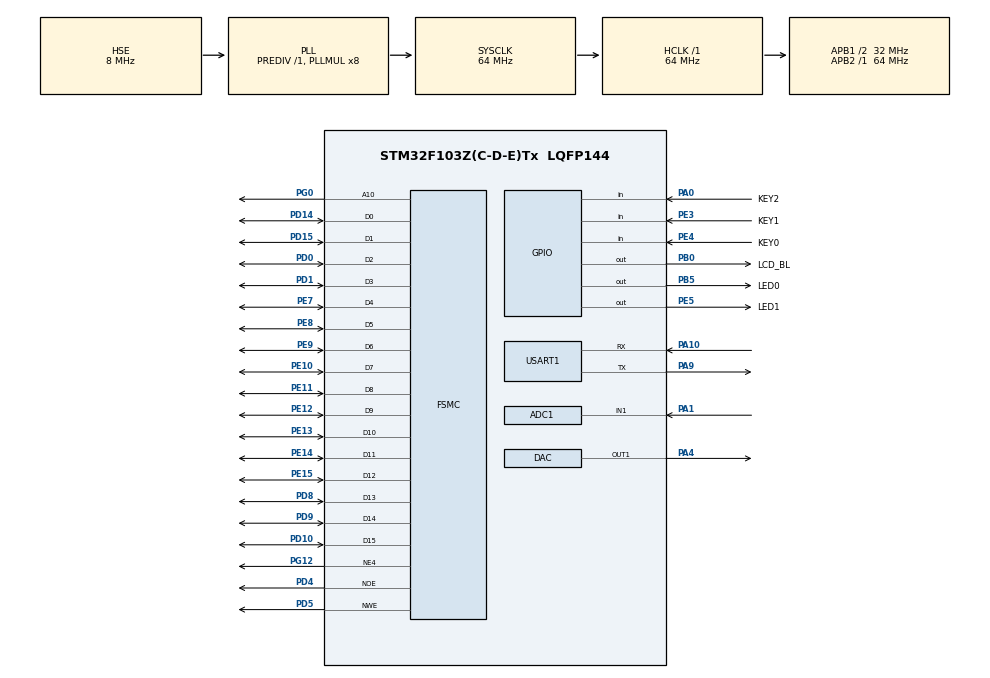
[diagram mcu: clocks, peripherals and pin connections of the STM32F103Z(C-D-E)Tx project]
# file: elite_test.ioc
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ADC1.Channel-0\#ChannelRegularConversion=ADC_CHANNEL_1
ADC1.EnableInjectedConversion=DISABLE
ADC1.ExternalTrigConv=ADC_EXTERNALTRIGCONV_T3_TRGO
ADC1.NbrOfConversionFlag=1
ADC1.Rank-0\#ChannelRegularConversion=1
ADC1.SamplingTime-0\#ChannelRegularConversion=ADC_SAMPLETIME_1CYCLE_5
ADC1.master=1
Dma.ADC1.1.Direction=DMA_PERIPH_TO_MEMORY
Dma.ADC1.1.Instance=DMA1_Channel1
Dma.ADC1.1.MemDataAlignment=DMA_MDATAALIGN_WORD
Dma.ADC1.1.MemInc=DMA_MINC_ENABLE
Dma.ADC1.1.Mode=DMA_NORMAL
Dma.ADC1.1.PeriphDataAlignment=DMA_PDATAALIGN_HALFWORD
Dma.ADC1.1.PeriphInc=DMA_PINC_DISABLE
Dma.ADC1.1.Priority=DMA_PRIORITY_VERY_HIGH
Dma.DAC_CH1.2.Direction=DMA_MEMORY_TO_PERIPH
Dma.DAC_CH1.2.Instance=DMA2_Channel3
Dma.DAC_CH1.2.MemDataAlignment=DMA_MDATAALIGN_HALFWORD
Dma.DAC_CH1.2.MemInc=DMA_MINC_ENABLE
Dma.DAC_CH1.2.Mode=DMA_CIRCULAR
Dma.DAC_CH1.2.PeriphDataAlignment=DMA_PDATAALIGN_HALFWORD
Dma.DAC_CH1.2.PeriphInc=DMA_PINC_DISABLE
Dma.DAC_CH1.2.Priority=DMA_PRIORITY_LOW
Dma.Request0=USART1_RX
Dma.Request1=ADC1
Dma.Request2=DAC_CH1
Dma.USART1_RX.0.Direction=DMA_PERIPH_TO_MEMORY
Dma.USART1_RX.0.Instance=DMA1_Channel5
Dma.USART1_RX.0.MemDataAlignment=DMA_MDATAALIGN_BYTE
Dma.USART1_RX.0.MemInc=DMA_MINC_ENABLE
Dma.USART1_RX.0.Mode=DMA_CIRCULAR
Dma.USART1_RX.0.PeriphDataAlignment=DMA_PDATAALIGN_BYTE
Dma.USART1_RX.0.PeriphInc=DMA_PINC_DISABLE
Dma.USART1_RX.0.Priority=DMA_PRIORITY_LOW
FSMC.AddressSetupTime1=0x06
FSMC.BusTurnAroundDuration1=0
FSMC.DataSetupTime1=26
FSMC.ExtendedAddressSetupTime1=3
FSMC.ExtendedBusTurnAroundDuration1=0
FSMC.ExtendedDataSetupTime1=0x06
FSMC.ExtendedMode1=FSMC_EXTENDED_MODE_ENABLE
Mcu.Family=STM32F1
Mcu.Name=STM32F103Z(C-D-E)Tx
Mcu.Package=LQFP144
NVIC.DMA1_Channel1_IRQn=true\:0\:0\:false\:false\:true\:false\:true\:true
NVIC.DMA1_Channel5_IRQn=true\:0\:0\:false\:false\:true\:false\:true\:true
NVIC.DMA2_Channel3_IRQn=true\:0\:0\:false\:false\:true\:false\:true\:true
NVIC.PriorityGroup=NVIC_PRIORITYGROUP_4
NVIC.TIM6_IRQn=true\:0\:0\:false\:false\:true\:true\:true\:true
NVIC.USART1_IRQn=true\:0\:0\:false\:false\:true\:true\:true\:true
OSC_IN.Mode=HSE-External-Oscillator
OSC_IN.Signal=RCC_OSC_IN
OSC_OUT.Mode=HSE-External-Oscillator
OSC_OUT.Signal=RCC_OSC_OUT
PA0-WKUP.GPIO_Label=KEY2
PA0-WKUP.GPIO_PuPd=GPIO_PULLDOWN
PA0-WKUP.Signal=GPIO_Input
PA1.Signal=ADCx_IN1
PA10.Mode=Asynchronous
PA10.Signal=USART1_RX
PA4.Signal=COMP_DAC1_group
PA9.Mode=Asynchronous
PA9.Signal=USART1_TX
PB0.GPIO_Label=LCD_BL
PB0.GPIO_PuPd=GPIO_PULLUP
PB0.GPIO_Speed=GPIO_SPEED_FREQ_HIGH
PB0.Signal=GPIO_Output
PB5.GPIO_Label=LED0
PB5.GPIO_PuPd=GPIO_PULLUP
PB5.GPIO_Speed=GPIO_SPEED_FREQ_HIGH
PB5.PinState=GPIO_PIN_SET
PB5.Signal=GPIO_Output
PC14-OSC32_IN.Mode=LSE-External-Clock-Source
PC14-OSC32_IN.Signal=RCC_OSC32_IN
PC15-OSC32_OUT.Mode=LSE-External-Clock-Source
PC15-OSC32_OUT.Signal=RCC_OSC32_OUT
PD0.Signal=FSMC_D2_DA2
PD1.Signal=FSMC_D3_DA3
PD10.Signal=FSMC_D15_DA15
PD14.Signal=FSMC_D0_DA0
PD15.Signal=FSMC_D1_DA1
PD4.Signal=FSMC_NOE
PD5.Signal=FSMC_NWE
PD8.Signal=FSMC_D13_DA13
PD9.Signal=FSMC_D14_DA14
PE10.Signal=FSMC_D7_DA7
PE11.Signal=FSMC_D8_DA8
PE12.Signal=FSMC_D9_DA9
PE13.Signal=FSMC_D10_DA10
PE14.Signal=FSMC_D11_DA11
PE15.Signal=FSMC_D12_DA12
PE3.GPIO_Label=KEY1
PE3.GPIO_PuPd=GPIO_PULLUP
PE3.Signal=GPIO_Input
PE4.GPIO_Label=KEY0
PE4.GPIO_PuPd=GPIO_PULLUP
PE4.Signal=GPIO_Input
PE5.GPIO_Label=LED1
PE5.GPIO_PuPd=GPIO_PULLUP
PE5.GPIO_Speed=GPIO_SPEED_FREQ_HIGH
PE5.PinState=GPIO_PIN_SET
PE5.Signal=GPIO_Output
PE7.Signal=FSMC_D4_DA4
PE8.Signal=FSMC_D5_DA5
PE9.Signal=FSMC_D6_DA6
PG0.Signal=FSMC_A10
PG12.Mode=NorPsramChipSelect4_1
PG12.Signal=FSMC_NE4
ProjectManager.HeapSize=0x200
ProjectManager.StackSize=0x400
ProjectManager.TargetToolchain=MDK-ARM V5
RCC.ADCPresc=RCC_ADCPCLK2_DIV8
RCC.AHBFreq_Value=64000000
RCC.APB1CLKDivider=RCC_HCLK_DIV2
RCC.APB1Freq_Value=32000000
RCC.APB1TimFreq_Value=64000000
RCC.APB2Freq_Value=64000000
RCC.APB2TimFreq_Value=64000000
RCC.HCLKFreq_Value=64000000
RCC.PLLMUL=RCC_PLL_MUL8
RCC.PLLSourceVirtual=RCC_PLLSOURCE_HSE
RCC.SYSCLKFreq_VALUE=64000000
RCC.SYSCLKSource=RCC_SYSCLKSOURCE_PLLCLK
RCC.USBFreq_Value=64000000
SH.ADCx_IN1.0=ADC1_IN1,IN1
SH.COMP_DAC1_group.0=DAC_OUT1,DAC_OUT1
SH.FSMC_A10.0=FSMC_A10,A10_1
SH.FSMC_D0_DA0.0=FSMC_D0,16b-d1
SH.FSMC_D10_DA10.0=FSMC_D10,16b-d1
SH.FSMC_D11_DA11.0=FSMC_D11,16b-d1
SH.FSMC_D12_DA12.0=FSMC_D12,16b-d1
SH.FSMC_D13_DA13.0=FSMC_D13,16b-d1
SH.FSMC_D14_DA14.0=FSMC_D14,16b-d1
SH.FSMC_D15_DA15.0=FSMC_D15,16b-d1
SH.FSMC_D1_DA1.0=FSMC_D1,16b-d1
SH.FSMC_D2_DA2.0=FSMC_D2,16b-d1
SH.FSMC_D3_DA3.0=FSMC_D3,16b-d1
SH.FSMC_D4_DA4.0=FSMC_D4,16b-d1
SH.FSMC_D5_DA5.0=FSMC_D5,16b-d1
SH.FSMC_D6_DA6.0=FSMC_D6,16b-d1
SH.FSMC_D7_DA7.0=FSMC_D7,16b-d1
SH.FSMC_D8_DA8.0=FSMC_D8,16b-d1
SH.FSMC_D9_DA9.0=FSMC_D9,16b-d1
SH.FSMC_NOE.0=FSMC_NOE,Lcd1
SH.FSMC_NWE.0=FSMC_NWE,Lcd1
TIM3.AutoReloadPreload=TIM_AUTORELOAD_PRELOAD_ENABLE
TIM3.Period=10-1
TIM3.Prescaler=25-1
TIM3.TIM_MasterOutputTrigger=TIM_TRGO_UPDATE
TIM6.AutoReloadPreload=TIM_AUTORELOAD_PRELOAD_ENABLE
TIM6.Period=1000-1
TIM6.Prescaler=64-1
TIM7.Period=65535
TIM7.Prescaler=64-1
USART1.VirtualMode=VM_ASYNC
VP_SYS_VS_ND.Mode=No_Debug
VP_TIM3_VS_ClockSourceINT.Mode=Internal
VP_TIM6_VS_ClockSourceINT.Mode=Enable_Timer
VP_TIM7_VS_ClockSourceINT.Mode=Enable_Timer
board=custom

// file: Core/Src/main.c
/* USER CODE BEGIN Header */
/**
  ******************************************************************************
  * @file           : main.c
  * @brief          : Main program body
  ******************************************************************************
  * @attention
  *
  * Copyright (c) 2023 STMicroelectronics.
  * All rights reserved.
  *
  * This software is licensed under terms that can be found in the LICENSE file
  * in the root directory of this software component.
  * If no LICENSE file comes with this software, it is provided AS-IS.
  *
  ******************************************************************************
  */
/* USER CODE END Header */
#include "main.h"
#include "adc.h"
#include "dac.h"
#include "dma.h"
#include "tim.h"
#include "usart.h"
#include "gpio.h"
#include "fsmc.h"

/* USER CODE BEGIN Includes */
#include "ui.h"
/* USER CODE END Includes */

/* USER CODE BEGIN PD */
#define DDS_VOL 815				// 设置正弦波的幅度（0~4095）        816为100mV输出
#define DDS_FRE 1000000		// 设置正弦波的频率（1~100MHz）
/* USER CODE END PD */

/* USER CODE BEGIN PV */
key_t Key0, Key1, Key2;
extern int dacval;
/* USER CODE END PV */

void SystemClock_Config(void);

int main(void)
{

  /* MCU Configuration--------------------------------------------------------*/

  /* Reset of all peripherals, Initializes the Flash interface and the Systick. */
  HAL_Init();

  /* Configure the system clock */
  SystemClock_Config();

  /* Initialize all configured peripherals */
  MX_GPIO_Init();
  MX_DMA_Init();
  MX_TIM6_Init();
  MX_TIM7_Init();
  MX_USART1_UART_Init();
  MX_FSMC_Init();
  MX_ADC1_Init();
  MX_TIM3_Init();
  MX_DAC_Init();
  /* USER CODE BEGIN 2 */

	Key0.keyFlag = 0;
	Key1.keyFlag = 0;
	Key2.keyFlag = 0;
	Key0.keyState = KEY_COMFIRM;
	Key1.keyState = KEY_CHECK;
	Key2.keyState = KEY_CHECK;

	HAL_TIM_Base_Start(&htim3);
	HAL_TIM_Base_Start_IT(&htim6);

	HAL_ADCEx_Calibration_Start(&hadc1);
	HAL_ADC_Start(&hadc1);
	HAL_DAC_Start(&hdac,DAC_CHANNEL_1);  			//开启DAC通道1
	HAL_DAC_SetValue(&hdac,DAC_CHANNEL_1,DAC_ALIGN_12B_R,dacval);//初始值为0

	GPIO_AD9854_Configuration(); // AD9854IO口初始化
	delay_ms(5);
	AD9854_Init ();
	delay_ms(5);

	lv_init();
	lv_port_disp_init();
	lv_port_indev_init();

	AD9851_Init();
	delay_ms(5);

	AD9850_Init();
	delay_ms(5);
`
	ui_init();
	lv_chart_set_update_mode(ui_Wave_Show, LV_CHART_UPDATE_MODE_CIRCULAR);
	lv_spinbox_set_value(ui_Fre_Value, DDS_FRE/100000);
	lv_label_set_text(ui_DDS_Vol, "Vol:815");  //100mv:815  200mv:1695 300mv:2565  400mv:3465
	lv_slider_set_value(ui_DDS_Vol_Slider, DDS_VOL, LV_ANIM_OFF);
	lv_label_set_text(ui_DAC_Value_tag, "DAC_Vol:300");
	lv_slider_set_value(ui_DAC_Value_Set, 300, LV_ANIM_OFF);
	lv_spinbox_set_value(ui_Spinbox1, 263130);

	AD9854_SetSine_double((double)(DDS_FRE+26.313), DDS_VOL);

  /* USER CODE END 2 */

  /* Infinite loop */
  /* USER CODE BEGIN WHILE */
	printf("初始化完成");

	while (1)
  {
		lv_timer_handler();
		delay_ms(5);
    /* USER CODE END WHILE */

  }
}

void SystemClock_Config(void)
{
  RCC_OscInitTypeDef RCC_OscInitStruct = {0};
  RCC_ClkInitTypeDef RCC_ClkInitStruct = {0};
  RCC_PeriphCLKInitTypeDef PeriphClkInit = {0};

  /** Initializes the RCC Oscillators according to the specified parameters
  * in the RCC_OscInitTypeDef structure.
  */
  RCC_OscInitStruct.OscillatorType = RCC_OSCILLATORTYPE_HSE;
  RCC_OscInitStruct.HSEState = RCC_HSE_ON;
  RCC_OscInitStruct.HSEPredivValue = RCC_HSE_PREDIV_DIV1;
  RCC_OscInitStruct.HSIState = RCC_HSI_ON;
  RCC_OscInitStruct.PLL.PLLState = RCC_PLL_ON;
  RCC_OscInitStruct.PLL.PLLSource = RCC_PLLSOURCE_HSE;
  RCC_OscInitStruct.PLL.PLLMUL = RCC_PLL_MUL8;
  if (HAL_RCC_OscConfig(&RCC_OscInitStruct) != HAL_OK)
  {
    Error_Handler();
  }

  /** Initializes the CPU, AHB and APB buses clocks
  */
  RCC_ClkInitStruct.ClockType = RCC_CLOCKTYPE_HCLK|RCC_CLOCKTYPE_SYSCLK
                              |RCC_CLOCKTYPE_PCLK1|RCC_CLOCKTYPE_PCLK2;
  RCC_ClkInitStruct.SYSCLKSource = RCC_SYSCLKSOURCE_PLLCLK;
  RCC_ClkInitStruct.AHBCLKDivider = RCC_SYSCLK_DIV1;
  RCC_ClkInitStruct.APB1CLKDivider = RCC_HCLK_DIV2;
  RCC_ClkInitStruct.APB2CLKDivider = RCC_HCLK_DIV1;

  if (HAL_RCC_ClockConfig(&RCC_ClkInitStruct, FLASH_LATENCY_2) != HAL_OK)
  {
    Error_Handler();
  }
  PeriphClkInit.PeriphClockSelection = RCC_PERIPHCLK_ADC;
  PeriphClkInit.AdcClockSelection = RCC_ADCPCLK2_DIV8;
  if (HAL_RCCEx_PeriphCLKConfig(&PeriphClkInit) != HAL_OK)
  {
    Error_Handler();
  }
}

void Error_Handler(void)
{
  __disable_irq();
  while (1)
  {
  }
}
